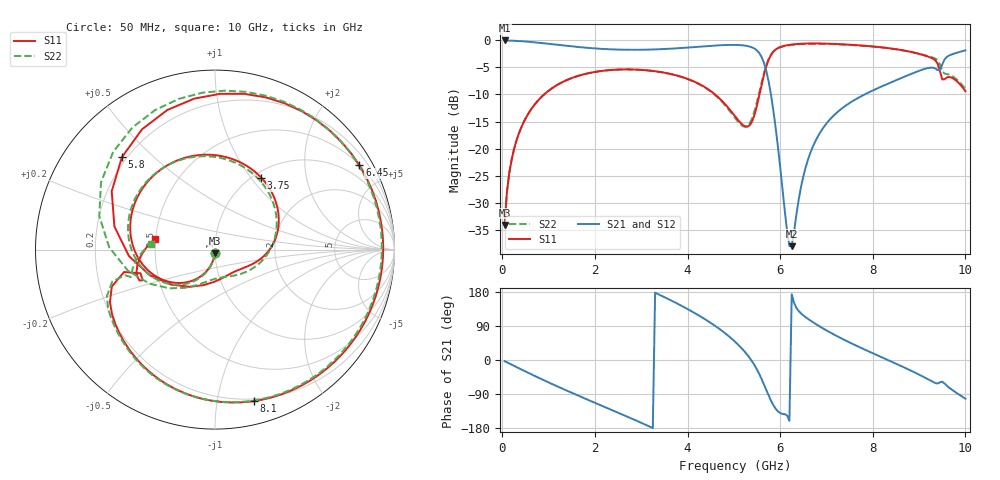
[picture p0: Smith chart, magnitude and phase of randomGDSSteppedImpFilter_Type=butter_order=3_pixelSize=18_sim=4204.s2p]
! freq	dB(S11)	phase(S11)	dB(S12)	phase(S12)
!  dB(S21)	phase(S21)	dB(S22)	phase(S22)
!S-par simulation data
#  GHz  S  DB  R 50
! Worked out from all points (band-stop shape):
!   200 points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, 50 MHz to 10 GHz, reference 50 ohm
!   highest |S21| = -0.01 dB at 50 MHz (marker M1); lowest = -38.1 dB at 6.25 GHz (marker M2)
!   |S21| within 3 dB of the highest: start of sweep to 5.596 GHz; 9.606 GHz to end of sweep
!   lowest |S11| = -34.1 dB at 50 MHz (marker M3), VSWR 1.04, Z = 49.9 - j1.96 ohm
!   |S11| at or under -10 dB: start of sweep to 902.7 MHz; 4.595 GHz to 5.553 GHz (957.9 MHz wide, 18.9 % of centre)
!   |S22| runs from -34.1 to -0.6 dB; largest |S21 - S12| = 0
!   S11 on the Smith chart (normalised r, x): 50 MHz: 1.00, -0.04; 3.75 GHz: 1.09, +1.13; 5.8 GHz: 0.18, +0.40; 6.45 GHz: 0.51, +3.63; 8.1 GHz: 0.18, -1.27; 10 GHz: 0.50, +0.06
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0.05  -34.11 -92.7  -0.01 -3.1  -0.01 -3.1  -34.07 -92.9
0.2  -22.12 -102.9  -0.05 -12.2  -0.05 -12.2  -22.12 -102.1
0.5  -14.48 -121.6  -0.20 -30.3  -0.20 -30.3  -14.48 -119.9
1.75  -6.29 166.8  -1.31 -99.8  -1.31 -99.8  -6.29 172.5
2.65  -5.36 118.8  -1.72 -146.8  -1.72 -146.8  -5.36 126.8
3.4  -5.82 77.6  -1.63 171.8  -1.63 171.8  -5.83 85.9
3.75  -6.44 57.2  -1.47 150.7  -1.47 150.7  -6.46 64.7
4.55  -9.68 6.3  -0.97 93.9  -0.97 93.9  -9.79 5.6
5.05  -14.29 -31.0  -0.83 45.6  -0.83 45.6  -14.62 -49.6
5.45  -13.65 -107.7  -1.53 -14.5  -1.53 -14.5  -12.93 -118.0
5.65  -6.36 -175.7  -4.12 -64.6  -4.12 -64.6  -6.03 -166.5
5.8  -2.72 135.2  -9.95 -106.9  -9.95 -106.9  -2.65 149.5
6  -1.23 88.2  -23.39 -140.0  -23.39 -140.0  -1.27 103.5
6.25  -0.76 51.6  -38.05 173.5  -38.05 173.5  -0.83 65.3
6.45  -0.62 30.3  -27.11 123.0  -27.11 123.0  -0.69 42.2
6.7  -0.56 8.6  -19.77 100.3  -19.77 100.3  -0.62 18.3
7.4  -0.74 -37.8  -12.15 52.2  -12.15 52.2  -0.78 -33.6
8.1  -1.19 -75.6  -8.86 12.3  -8.86 12.3  -1.22 -75.2
8.35  -1.44 -88.7  -7.92 -1.4  -7.92 -1.4  -1.46 -89.1
9.35  -3.68 -153.5  -5.18 -60.9  -5.18 -60.9  -3.34 -150.8
9.55  -7.18 -157.0  -3.49 -62.0  -3.49 -62.0  -6.14 -162.0
10  -9.37 170.3  -1.84 -102.0  -1.84 -102.0  -8.98 175.3
